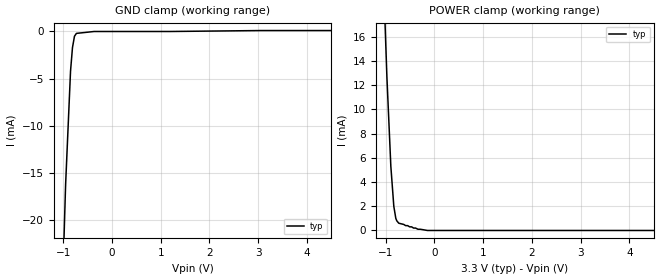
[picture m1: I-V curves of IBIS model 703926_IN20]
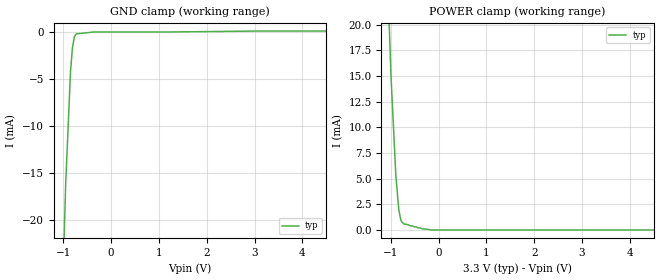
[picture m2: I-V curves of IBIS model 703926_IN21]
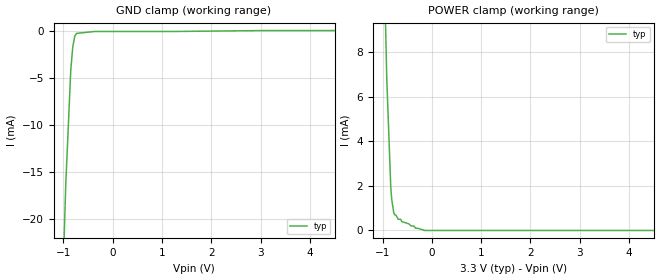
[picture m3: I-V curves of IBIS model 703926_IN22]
| YOU ARE ONLY AUTHORIZED TO USE THIS SOFTWARE
| ACCORDING TO LICENSOR'S LICENSE RESTRICTIONS.
[IBIS Ver] 3.1
[File Name] mc100ep101fa_33v.ibs
[File Rev] 2.0
[Source] Measured and created by ICX Technology
[Date] Friday 6/1/01 3:31:09 PM
[Copyright]
| (C) COPYRIGHT 1993-2001
| MENTOR GRAPHICS CORPORATION
| ICX STANDARD LIBRARY, ICX PROJECT MODELING,
| ICX CUSTOM MODELING, ICX VENDOR MODEL
| ALL RIGHTS RESERVED.
| THE FOLLOWING ARE TRADEMARKS OR SERVICE MARKS OF
| MENTOR GRAPHICS CORPORATION:ICX (R), ICX STANDARD
| LIBRARY(R), ICX PROJECT MODELING(R), ICX CUSTOM
| MODELING(R), qualityIBIS(TM), MODELVIEWER(TM),
| AND MODELEDITOR(TM)
| ALL COPIES OF SOFTWARE, INCLUDING BUT NOT LIMITED TO
| ANY MODIFICATIONS, ENHANCEMENTS OR DERIVATIVE WORKS,
| MUST CONTAIN ALL MENTOR GRAPHICS CORPORATION'S
| NOTICES AND LEGENDS, INCLUDING THOSE EMBEDDED IN
| SOFTWARE AND THOSE AFFIXED TO SOFTWARE MEDIUM
| AND CONTAINER, AS RECEIVED FROM MENTOR GRAPHICS
| CORPORATION.
|  ZAP Model Builder 3.1
[Component] MC100EP101FA_33v
[Manufacturer] OnSemico
[Package]
| variable   typ   min   max
R_pkg  .067ohms NA NA
L_pkg  4.211nH NA NA
C_pkg  1.002pF NA NA
[Pin] signal_name  model_name  R_pin  L_pin C_pin
1 VCC POWER .065 3.973n .928p
2 _Q1 703926_OUT2 .066 4.127n .978p
3 Q1 703926_OUT7 .068 4.288n 1.027p
4 _Q2 703926_OUT2 .069 4.455n 1.077p
5 Q2 703926_OUT7 .069 4.455n 1.077p
6 _Q3 703926_OUT2 .068 4.288n 1.027p
7 Q3 703926_OUT7 .066 4.127n .978p
8 VCC POWER .065 3.973n .928p
9 NC NC .065 3.973n .928p
10 VEE POWER .066 4.127n .978p
11 D3D 703926_IN20 .068 4.288n 1.027p
12 D3C 703926_IN21 .069 4.455n 1.077p
13 VCC POWER .069 4.455n 1.077p
14 D3B 703926_IN22 .068 4.288n 1.027p
15 D3A 703926_IN23 .066 4.127n .978p
16 D2D 703926_IN20 .065 3.973n .928p
17 D2C 703926_IN21 .065 3.973n .928p
18 D2B 703926_IN22 .066 4.127n .978p
19 D2A 703926_IN23 .068 4.288n 1.027p
20 D1D 703926_IN20 .069 4.455n 1.077p
21 D1C 703926_IN21 .069 4.455n 1.077p
22 D1B 703926_IN22 .068 4.288n 1.027p
23 D1A 703926_IN23 .066 4.127n .978p
24 D0D 703926_IN20 .065 3.973n .928p
25 D0C 703926_IN21 .065 3.973n .928p
26 D0B 703926_IN22 .066 4.127n .978p
27 D0A 703926_IN23 .068 4.288n 1.027p
28 VEE POWER .069 4.455n 1.077p
29 _Q0 703926_OUT2 .069 4.455n 1.077p
30 Q0 703926_OUT7 .068 4.288n 1.027p
31 VCC POWER .066 4.127n .978p
32 VCC POWER .065 3.973n .928p
| Models and submodels in the file (6): 703926_IN20 (Input_ECL), 703926_IN21 (Input_ECL), 703926_IN22 (Input_ECL), 703926_IN23 (Input_ECL), 703926_OUT2 (Output_ECL), 703926_OUT7 (Output_ECL)
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| (C) COPYRIGHT 1993-2001
| MENTOR GRAPHICS CORPORATION
| ICX STANDARD LIBRARY, ICX PROJECT MODELING,
| ICX CUSTOM MODELING, ICX VENDOR MODEL
| ALL RIGHTS RESERVED.
| THE FOLLOWING ARE TRADEMARKS OR SERVICE MARKS OF
| MENTOR GRAPHICS CORPORATION:ICX (R), ICX STANDARD
| LIBRARY(R), ICX PROJECT MODELING(R), ICX CUSTOM
| MODELING(R), qualityIBIS(TM), MODELVIEWER(TM),
| AND MODELEDITOR(TM)
| ALL COPIES OF SOFTWARE, INCLUDING BUT NOT LIMITED TO
| ANY MODIFICATIONS, ENHANCEMENTS OR DERIVATIVE WORKS,
| MUST CONTAIN ALL MENTOR GRAPHICS CORPORATION'S
| NOTICES AND LEGENDS, INCLUDING THOSE EMBEDDED IN
| SOFTWARE AND THOSE AFFIXED TO SOFTWARE MEDIUM
| AND CONTAINER, AS RECEIVED FROM MENTOR GRAPHICS
| CORPORATION.
| Model Application Version 1.89 2/18/99.
[Model] 703926_IN20
Model_type Input_ECL
Vinl = 1.675V
Vinh = 2.075V
C_comp 4.000pF NA NA
| variable typ   min   max
[Voltage Range] 3.300V NA NA
[GND Clamp Reference] 0.000V NA NA
[POWER Clamp Reference] 3.300V NA NA
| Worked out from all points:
|   GND clamp passes 1 mA (typ) near -0.79 V on its own axis
|   POWER clamp passes 1 mA (typ) near -0.79 V on its own axis
[GND Clamp]
-3.3V     -515.3mA   NA         NA
-1.074V   -37.2mA    NA         NA
-952mV    -16.2mA    NA         NA
-851mV    -4.2mA     NA         NA
-811mV    -1.7mA     NA         NA
-770mV    -500uA     NA         NA
-730mV    -200uA     NA         NA
-365mV    0A         NA         NA
1.195V    0A         NA         NA
3.06V     100uA      NA         NA
6.6V      100uA      NA         NA
[POWER Clamp]
-3.3V     409.4mA    NA         NA
-1.078V   24.4mA     NA         NA
-977mV    12.7mA     NA         NA
-896mV    5.3mA      NA         NA
-835mV    2mA        NA         NA
-794mV    1mA        NA         NA
-774mV    800uA      NA         NA
-733mV    600uA      NA         NA
-338.5mV  100uA      NA         NA
-144mV    0A         NA         NA
6.6V      0A         NA         NA
| (C) COPYRIGHT 1993-2001
| MENTOR GRAPHICS CORPORATION
| ICX STANDARD LIBRARY, ICX PROJECT MODELING,
| ICX CUSTOM MODELING, ICX VENDOR MODEL
| ALL RIGHTS RESERVED.
| THE FOLLOWING ARE TRADEMARKS OR SERVICE MARKS OF
| MENTOR GRAPHICS CORPORATION:ICX (R), ICX STANDARD
| LIBRARY(R), ICX PROJECT MODELING(R), ICX CUSTOM
| MODELING(R), qualityIBIS(TM), MODELVIEWER(TM),
| AND MODELEDITOR(TM)
| ALL COPIES OF SOFTWARE, INCLUDING BUT NOT LIMITED TO
| ANY MODIFICATIONS, ENHANCEMENTS OR DERIVATIVE WORKS,
| MUST CONTAIN ALL MENTOR GRAPHICS CORPORATION'S
| NOTICES AND LEGENDS, INCLUDING THOSE EMBEDDED IN
| SOFTWARE AND THOSE AFFIXED TO SOFTWARE MEDIUM
| AND CONTAINER, AS RECEIVED FROM MENTOR GRAPHICS
| CORPORATION.
| Model Application Version 1.89 2/18/99.
[Model] 703926_IN21
Model_type Input_ECL
Vinl = 1.675V
Vinh = 2.075V
C_comp 4.000pF NA NA
| variable typ   min   max
[Voltage Range] 3.300V NA NA
[GND Clamp Reference] 0.000V NA NA
[POWER Clamp Reference] 3.300V NA NA
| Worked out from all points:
|   GND clamp passes 1 mA (typ) near -0.79 V on its own axis
|   POWER clamp passes 1 mA (typ) near -0.79 V on its own axis
[GND Clamp]
-3.3V     -518.6mA   NA         NA
-1.094V   -41.2mA    NA         NA
-952mV    -16.2mA    NA         NA
-851mV    -4.2mA     NA         NA
-811mV    -1.7mA     NA         NA
-770mV    -500uA     NA         NA
-730mV    -200uA     NA         NA
-365mV    0A         NA         NA
1.195V    0A         NA         NA
3.06V     100uA      NA         NA
6.6V      100uA      NA         NA
[POWER Clamp]
-3.3V     406.3mA    NA         NA
-1.22V    44.9mA     NA         NA
-997mV    14.9mA     NA         NA
-896mV    5.3mA      NA         NA
-835mV    2mA        NA         NA
-794mV    1mA        NA         NA
-774mV    800uA      NA         NA
-733mV    600uA      NA         NA
-338.5mV  100uA      NA         NA
-144mV    0A         NA         NA
6.6V      0A         NA         NA
| (C) COPYRIGHT 1993-2001
| MENTOR GRAPHICS CORPORATION
| ICX STANDARD LIBRARY, ICX PROJECT MODELING,
| ICX CUSTOM MODELING, ICX VENDOR MODEL
| ALL RIGHTS RESERVED.
| THE FOLLOWING ARE TRADEMARKS OR SERVICE MARKS OF
| MENTOR GRAPHICS CORPORATION:ICX (R), ICX STANDARD
| LIBRARY(R), ICX PROJECT MODELING(R), ICX CUSTOM
| MODELING(R), qualityIBIS(TM), MODELVIEWER(TM),
| AND MODELEDITOR(TM)
| ALL COPIES OF SOFTWARE, INCLUDING BUT NOT LIMITED TO
| ANY MODIFICATIONS, ENHANCEMENTS OR DERIVATIVE WORKS,
| MUST CONTAIN ALL MENTOR GRAPHICS CORPORATION'S
| NOTICES AND LEGENDS, INCLUDING THOSE EMBEDDED IN
| SOFTWARE AND THOSE AFFIXED TO SOFTWARE MEDIUM
| AND CONTAINER, AS RECEIVED FROM MENTOR GRAPHICS
| CORPORATION.
| Model Application Version 1.89 2/18/99.
[Model] 703926_IN22
Model_type Input_ECL
Vinl = 1.675V
Vinh = 2.075V
C_comp 4.000pF NA NA
| variable typ   min   max
[Voltage Range] 3.300V NA NA
[GND Clamp Reference] 0.000V NA NA
[POWER Clamp Reference] 3.300V NA NA
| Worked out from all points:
|   GND clamp passes 1 mA (typ) near -0.79 V on its own axis
|   POWER clamp passes 1 mA (typ) near -0.79 V on its own axis
[GND Clamp]
-3.3V     -520.4mA   NA         NA
-1.074V   -37.6mA    NA         NA
-952mV    -16.3mA    NA         NA
-851mV    -4.2mA     NA         NA
-811mV    -1.7mA     NA         NA
-770mV    -500uA     NA         NA
-730mV    -200uA     NA         NA
-365mV    0A         NA         NA
1.216V    0A         NA         NA
3.101V    100uA      NA         NA
6.6V      100uA      NA         NA
[POWER Clamp]
-3.3V     408.5mA    NA         NA
-1.017V   17mA       NA         NA
-916mV    6.9mA      NA         NA
-835mV    2mA        NA         NA
-815mV    1.4mA      NA         NA
-774mV    800uA      NA         NA
-682.5mV  500uA      NA         NA
-632mV    500uA      NA         NA
-612mV    400uA      NA         NA
-328.5mV  100uA      NA         NA
-144mV    0A         NA         NA
6.6V      0A         NA         NA
